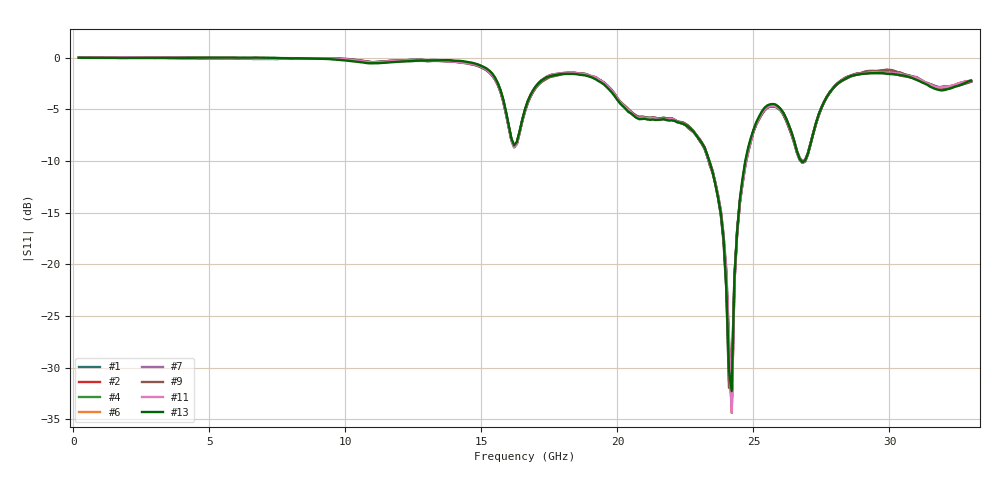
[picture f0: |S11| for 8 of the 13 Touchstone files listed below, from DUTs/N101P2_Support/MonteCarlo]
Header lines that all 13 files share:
# GHZ S RI R 50
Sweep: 200 MHz to 33 GHz
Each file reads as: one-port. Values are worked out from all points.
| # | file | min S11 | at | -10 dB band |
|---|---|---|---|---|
| 1 | N101P2_80.s2p | -34.2 dB | 24.2 GHz | 1.388 GHz wide |
| 2 | N101P2_81.s2p | -33.6 dB | 24.2 GHz | 1.379 GHz wide |
| 3 | N101P2_84.s2p | -34.5 dB | 24.2 GHz | 1.334 GHz wide |
| 4 | N101P2_85.s2p | -31.4 dB | 24.1 GHz | 1.346 GHz wide |
| 5 | N101P2_86.s2p | -34.1 dB | 24.2 GHz | 1.352 GHz wide |
| 6 | N101P2_87.s2p | -34.4 dB | 24.2 GHz | 1.355 GHz wide |
| 7 | N101P2_88.s2p | -33.6 dB | 24.2 GHz | 1.344 GHz wide |
| 8 | N101P2_90.s2p | -32.3 dB | 24.1 GHz | 1.316 GHz wide |
| 9 | N101P2_91.s2p | -31.9 dB | 24.1 GHz | 1.36 GHz wide |
| 10 | N101P2_92.s2p | -31.6 dB | 24.2 GHz | 1.397 GHz wide |
| 11 | N101P2_96.s2p | -34.3 dB | 24.2 GHz | 1.366 GHz wide |
| 12 | N101P2_97.s2p | -34.3 dB | 24.2 GHz | 1.325 GHz wide |
| 13 | N101P2_100.s2p | -32.3 dB | 24.2 GHz | 1.323 GHz wide |
